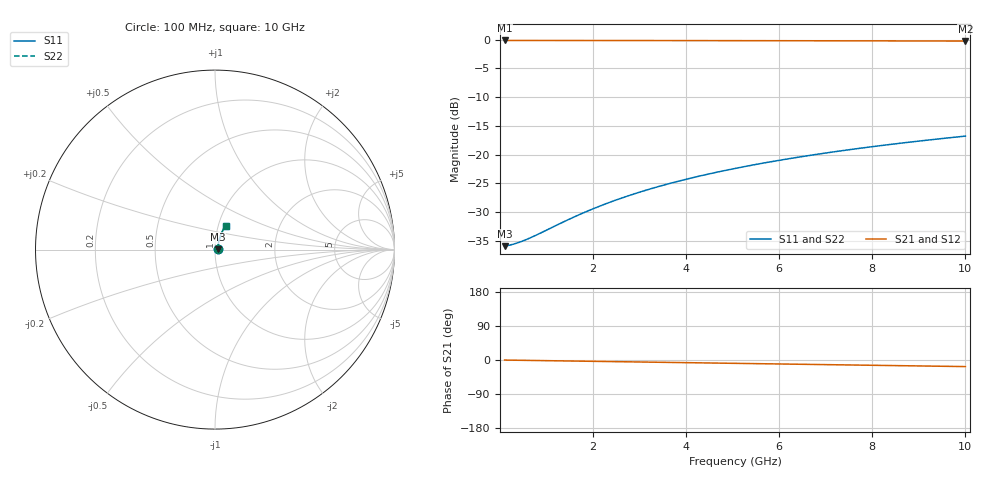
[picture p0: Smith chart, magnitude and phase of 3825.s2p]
# Hz S RI R 50.00
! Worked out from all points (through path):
!   100 points, 100 MHz to 10 GHz, reference 50 ohm
!   highest |S21| = -0.14 dB at 100 MHz (marker M1); lowest = -0.2 dB at 10 GHz (marker M2)
!   group delay of S21, straight-line fit = 4.83 ps
!   lowest |S11| = -35.9 dB at 100 MHz (marker M3), VSWR 1.03, Z = 51.6 + j0.147 ohm
!   |S11| at or under -10 dB: start of sweep to end of sweep
!   |S22| runs from -35.9 to -16.8 dB; largest |S21 - S12| = 0
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1e8  0.0159 0.00142  0.9841 -0.00301  0.9841 -0.00301  0.0159 0.00142
2e8  0.016 0.00285  0.984 -0.00601  0.984 -0.00601  0.016 0.00285
3e8  0.0161 0.00427  0.9838 -0.00901  0.9838 -0.00901  0.0161 0.00427
4e8  0.0162 0.00569  0.9837 -0.012  0.9837 -0.012  0.0162 0.00569
6e8  0.0164 0.00854  0.9835 -0.018  0.9835 -0.018  0.0164 0.00854
8e8  0.0166 0.0114  0.9833 -0.024  0.9833 -0.024  0.0166 0.0114
1.4e9  0.0174 0.0199  0.9824 -0.042  0.9824 -0.042  0.0174 0.0199
1.8e9  0.018 0.0255  0.9816 -0.054  0.9816 -0.054  0.018 0.0255
2.2e9  0.0188 0.0312  0.9806 -0.0659  0.9806 -0.0659  0.0188 0.0312
2.6e9  0.0197 0.0368  0.9794 -0.0779  0.9794 -0.0779  0.0197 0.0368
3e9  0.0207 0.0423  0.9781 -0.0898  0.9781 -0.0898  0.0207 0.0423
3.4e9  0.0219 0.0479  0.9766 -0.1017  0.9766 -0.1017  0.0219 0.0479
3.8e9  0.0232 0.0534  0.9749 -0.1135  0.9749 -0.1135  0.0232 0.0534
4.2e9  0.0246 0.0589  0.9731 -0.1253  0.9731 -0.1253  0.0246 0.0589
4.6e9  0.0262 0.0643  0.9711 -0.1371  0.9711 -0.1371  0.0262 0.0643
5.1e9  0.0283 0.0711  0.9684 -0.1517  0.9684 -0.1517  0.0283 0.0711
5.9e9  0.0321 0.0817  0.9634 -0.175  0.9634 -0.175  0.0321 0.0817
6.7e9  0.0364 0.0921  0.9578 -0.1981  0.9578 -0.1981  0.0364 0.0921
7.5e9  0.0413 0.1023  0.9515 -0.2209  0.9515 -0.2209  0.0413 0.1023
8.4e9  0.0472 0.1134  0.9437 -0.2463  0.9437 -0.2463  0.0472 0.1134
9.2e9  0.053 0.1229  0.9361 -0.2685  0.9361 -0.2685  0.053 0.1229
1e10  0.0593 0.1322  0.9279 -0.2904  0.9279 -0.2904  0.0593 0.1322
